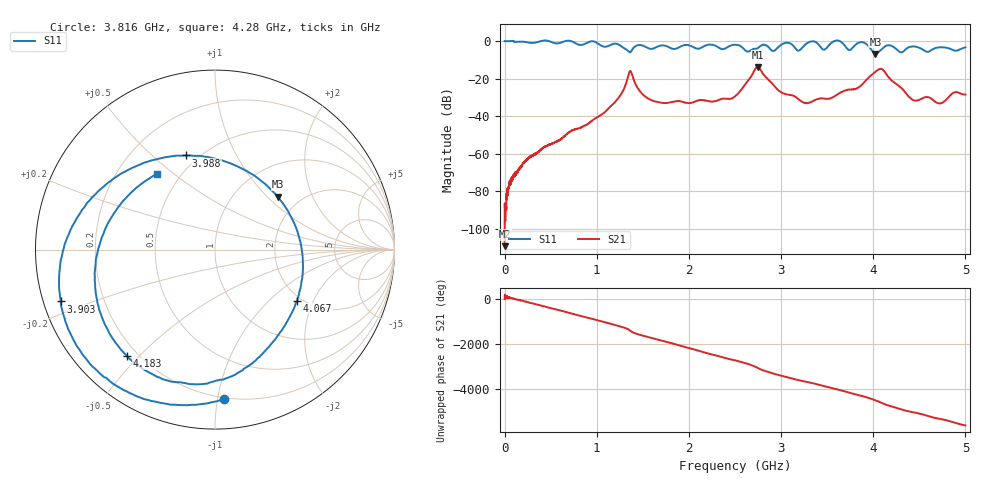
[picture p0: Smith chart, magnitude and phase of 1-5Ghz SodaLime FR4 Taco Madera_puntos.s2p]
! NanoVNA-App
! Date: 2025-10-30 21:12:01
! Start: 10kHz Stop: 5GHz Points: 3201
! S-Parameter data: F S11 S21 S12 S22
# Hz S RI R 50
!  Frequency  S11_Real  S11_Imag  S21_Real  S21_Imag  S12_Real  S12_Imag  S22_Real  S22_Imag
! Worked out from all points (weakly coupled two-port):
!   3201 points, 10 kHz to 5 GHz, reference 50 ohm
!   highest |S21| = -13.73 dB at 2.745 GHz (marker M1); lowest = -109.4 dB at 10 kHz (marker M2)
!   lowest |S11| = -6.8 dB at 4.023 GHz (marker M3), VSWR 2.68, Z = 77.4 + j57.7 ohm
!   |S11| at or under -10 dB: nowhere
!   S12 and S22 are empty: the file has one direction only
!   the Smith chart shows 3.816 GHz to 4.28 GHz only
!   S11 on the Smith chart (normalised r, x): 3.816 GHz: 0.19, -1.05; 3.903 GHz: 0.05, -0.16; 3.988 GHz: 0.43, +0.65; 4.067 GHz: 1.89, -1.51; 4.183 GHz: 0.16, -0.46; 4.28 GHz: 0.37, +0.44
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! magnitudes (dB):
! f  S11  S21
! 10 kHz  0.0  -109.4
! 251.6 MHz  -0.7  -62.9
! 834.4 MHz  -2.0  -46.0
! 1.203 GHz  -1.3  -32.2
! 1.363 GHz  -6.0  -15.9
! 1.492 GHz  -2.3  -28.1
! 1.667 GHz  -2.8  -32.6
! 2.5 GHz  -1.9  -29.5
! 2.745 GHz  -3.8  -13.7
! 2.998 GHz  -2.0  -27.2
! 3.192 GHz  -5.1  -31.1
! 3.334 GHz  -0.1  -32.3
! 3.816 GHz  -1.6  -25.4
! 3.903 GHz  -0.9  -21.9
! 3.988 GHz  -5.2  -17.8
! 4.023 GHz  -6.8  -16.3
! 4.067 GHz  -5.4  -14.9
! 4.167 GHz  -2.2  -19.3
! 4.183 GHz  -2.3  -20.2
! 4.28 GHz  -5.5  -23.9
! 4.453 GHz  -2.9  -31.8
! 5 GHz  -3.3  -28.5
